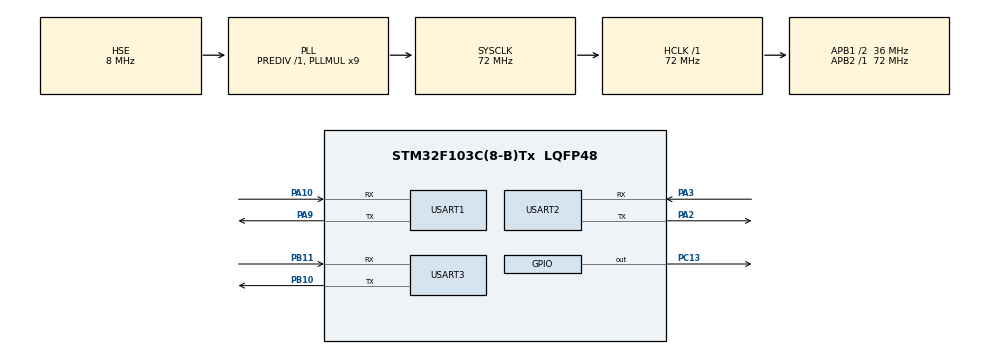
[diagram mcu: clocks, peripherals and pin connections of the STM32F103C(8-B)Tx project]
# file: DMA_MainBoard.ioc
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Dma.Request0=USART1_RX
Dma.Request1=USART1_TX
Dma.Request2=USART2_RX
Dma.Request3=USART2_TX
Dma.Request4=USART3_RX
Dma.Request5=USART3_TX
Dma.USART1_RX.0.Direction=DMA_PERIPH_TO_MEMORY
Dma.USART1_RX.0.Instance=DMA1_Channel5
Dma.USART1_RX.0.MemDataAlignment=DMA_MDATAALIGN_BYTE
Dma.USART1_RX.0.MemInc=DMA_MINC_ENABLE
Dma.USART1_RX.0.Mode=DMA_NORMAL
Dma.USART1_RX.0.PeriphDataAlignment=DMA_PDATAALIGN_BYTE
Dma.USART1_RX.0.PeriphInc=DMA_PINC_DISABLE
Dma.USART1_RX.0.Priority=DMA_PRIORITY_LOW
Dma.USART1_TX.1.Direction=DMA_MEMORY_TO_PERIPH
Dma.USART1_TX.1.Instance=DMA1_Channel4
Dma.USART1_TX.1.MemDataAlignment=DMA_MDATAALIGN_BYTE
Dma.USART1_TX.1.MemInc=DMA_MINC_ENABLE
Dma.USART1_TX.1.Mode=DMA_NORMAL
Dma.USART1_TX.1.PeriphDataAlignment=DMA_PDATAALIGN_BYTE
Dma.USART1_TX.1.PeriphInc=DMA_PINC_DISABLE
Dma.USART1_TX.1.Priority=DMA_PRIORITY_LOW
Dma.USART2_RX.2.Direction=DMA_PERIPH_TO_MEMORY
Dma.USART2_RX.2.Instance=DMA1_Channel6
Dma.USART2_RX.2.MemDataAlignment=DMA_MDATAALIGN_BYTE
Dma.USART2_RX.2.MemInc=DMA_MINC_ENABLE
Dma.USART2_RX.2.Mode=DMA_NORMAL
Dma.USART2_RX.2.PeriphDataAlignment=DMA_PDATAALIGN_BYTE
Dma.USART2_RX.2.PeriphInc=DMA_PINC_DISABLE
Dma.USART2_RX.2.Priority=DMA_PRIORITY_LOW
Dma.USART2_TX.3.Direction=DMA_MEMORY_TO_PERIPH
Dma.USART2_TX.3.Instance=DMA1_Channel7
Dma.USART2_TX.3.MemDataAlignment=DMA_MDATAALIGN_BYTE
Dma.USART2_TX.3.MemInc=DMA_MINC_ENABLE
Dma.USART2_TX.3.Mode=DMA_NORMAL
Dma.USART2_TX.3.PeriphDataAlignment=DMA_PDATAALIGN_BYTE
Dma.USART2_TX.3.PeriphInc=DMA_PINC_DISABLE
Dma.USART2_TX.3.Priority=DMA_PRIORITY_LOW
Dma.USART3_RX.4.Direction=DMA_PERIPH_TO_MEMORY
Dma.USART3_RX.4.Instance=DMA1_Channel3
Dma.USART3_RX.4.MemDataAlignment=DMA_MDATAALIGN_BYTE
Dma.USART3_RX.4.MemInc=DMA_MINC_ENABLE
Dma.USART3_RX.4.Mode=DMA_NORMAL
Dma.USART3_RX.4.PeriphDataAlignment=DMA_PDATAALIGN_BYTE
Dma.USART3_RX.4.PeriphInc=DMA_PINC_DISABLE
Dma.USART3_RX.4.Priority=DMA_PRIORITY_LOW
Dma.USART3_TX.5.Direction=DMA_MEMORY_TO_PERIPH
Dma.USART3_TX.5.Instance=DMA1_Channel2
Dma.USART3_TX.5.MemDataAlignment=DMA_MDATAALIGN_BYTE
Dma.USART3_TX.5.MemInc=DMA_MINC_ENABLE
Dma.USART3_TX.5.Mode=DMA_NORMAL
Dma.USART3_TX.5.PeriphDataAlignment=DMA_PDATAALIGN_BYTE
Dma.USART3_TX.5.PeriphInc=DMA_PINC_DISABLE
Dma.USART3_TX.5.Priority=DMA_PRIORITY_LOW
Mcu.Family=STM32F1
Mcu.Name=STM32F103C(8-B)Tx
Mcu.Package=LQFP48
NVIC.DMA1_Channel2_IRQn=true\:0\:0\:false\:false\:true\:false\:true\:true
NVIC.DMA1_Channel3_IRQn=true\:0\:0\:false\:false\:true\:false\:true\:true
NVIC.DMA1_Channel4_IRQn=true\:0\:0\:false\:false\:true\:false\:true\:true
NVIC.DMA1_Channel5_IRQn=true\:0\:0\:false\:false\:true\:false\:true\:true
NVIC.DMA1_Channel6_IRQn=true\:0\:0\:false\:false\:true\:false\:true\:true
NVIC.DMA1_Channel7_IRQn=true\:0\:0\:false\:false\:true\:false\:true\:true
NVIC.PriorityGroup=NVIC_PRIORITYGROUP_4
NVIC.USART1_IRQn=true\:0\:0\:false\:false\:true\:true\:true\:true
NVIC.USART2_IRQn=true\:0\:0\:false\:false\:true\:true\:true\:true
NVIC.USART3_IRQn=true\:0\:0\:false\:false\:true\:true\:true\:true
PA10.Mode=Asynchronous
PA10.Signal=USART1_RX
PA2.Mode=Asynchronous
PA2.Signal=USART2_TX
PA3.Mode=Asynchronous
PA3.Signal=USART2_RX
PA9.Mode=Asynchronous
PA9.Signal=USART1_TX
PB10.Mode=Asynchronous
PB10.Signal=USART3_TX
PB11.Mode=Asynchronous
PB11.Signal=USART3_RX
PC13-TAMPER-RTC.Signal=GPIO_Output
PD0-OSC_IN.Mode=HSE-External-Oscillator
PD0-OSC_IN.Signal=RCC_OSC_IN
PD1-OSC_OUT.Mode=HSE-External-Oscillator
PD1-OSC_OUT.Signal=RCC_OSC_OUT
ProjectManager.HeapSize=0x200
ProjectManager.StackSize=0x400
ProjectManager.TargetToolchain=STM32CubeIDE
RCC.AHBFreq_Value=72000000
RCC.APB1CLKDivider=RCC_HCLK_DIV2
RCC.APB1Freq_Value=36000000
RCC.APB1TimFreq_Value=72000000
RCC.APB2Freq_Value=72000000
RCC.APB2TimFreq_Value=72000000
RCC.HCLKFreq_Value=72000000
RCC.PLLMUL=RCC_PLL_MUL9
RCC.PLLSourceVirtual=RCC_PLLSOURCE_HSE
RCC.SYSCLKFreq_VALUE=72000000
RCC.SYSCLKSource=RCC_SYSCLKSOURCE_PLLCLK
RCC.USBFreq_Value=72000000
USART1.VirtualMode=VM_ASYNC
USART2.VirtualMode=VM_ASYNC
USART3.VirtualMode=VM_ASYNC
VP_SYS_VS_ND.Mode=No_Debug
board=custom

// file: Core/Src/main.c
/* USER CODE BEGIN Header */
/**
  ******************************************************************************
  * @file           : main.c
  * @brief          : Main program body
  ******************************************************************************
  * @attention
  *
  * Copyright (c) 2025 STMicroelectronics.
  * All rights reserved.
  *
  * This software is licensed under terms that can be found in the LICENSE file
  * in the root directory of this software component.
  * If no LICENSE file comes with this software, it is provided AS-IS.
  *
  ******************************************************************************
  */
/* USER CODE END Header */
#include "main.h"

/* USER CODE BEGIN Includes */
#include <string.h>

//for debugging
#include <stdarg.h>
#include <stdio.h>

/* USER CODE END Includes */

/* USER CODE BEGIN PTD */
typedef struct {
	uint16_t type;
	uint16_t ID;
	uint8_t data[64];
} Message_t;

/* USER CODE END PTD */

/* USER CODE BEGIN PD */
#define MSG_TYPE_PUBLISH 0x1000
#define MSG_TYPE_SUBSCRIBE 0x1100
#define MSG_TOTAL_SIZE sizeof(Message_t)
#define MAX_TOPICS 16

/* USER CODE END PD */

UART_HandleTypeDef huart1;
UART_HandleTypeDef huart2;
UART_HandleTypeDef huart3;
DMA_HandleTypeDef hdma_usart1_rx;
DMA_HandleTypeDef hdma_usart1_tx;
DMA_HandleTypeDef hdma_usart2_rx;
DMA_HandleTypeDef hdma_usart2_tx;
DMA_HandleTypeDef hdma_usart3_rx;
DMA_HandleTypeDef hdma_usart3_tx;

/* USER CODE BEGIN PV */
static uint8_t UART1_rxBuffer[MSG_TOTAL_SIZE] = {0};
static uint8_t UART2_rxBuffer[MSG_TOTAL_SIZE] = {0};
static uint8_t UART3_rxBuffer[MSG_TOTAL_SIZE] = {0};

static uint8_t UART1_txBuffer[MSG_TOTAL_SIZE] = {0};
static uint8_t UART2_txBuffer[MSG_TOTAL_SIZE] = {0};
static uint8_t UART3_txBuffer[MSG_TOTAL_SIZE] = {0};

Message_t UART1_record[MAX_TOPICS] = {0};
Message_t UART2_record[MAX_TOPICS] = {0};
Message_t UART3_record[MAX_TOPICS] = {0};
/* USER CODE END PV */

void SystemClock_Config(void);
static void MX_GPIO_Init(void);
static void MX_DMA_Init(void);
static void MX_USART1_UART_Init(void);
static void MX_USART2_UART_Init(void);
static void MX_USART3_UART_Init(void);

/* USER CODE BEGIN 0 */

//void storeMessage(Message_t* record, Message_t* msg) {
//	for (int i=0;i<MAX_TOPICS;i++) {
//		if (record[i].ID == 0) {
//			memcpy(&record[i], msg, MSG_TOTAL_SIZE);
//
//			//debugging
//			uint8_t debug[64] = {'\0'};
//			int n = sprintf(debug, "stored data in record index %u: ", i);
//			HAL_UART_Transmit(&huart1, debug, n, HAL_MAX_DELAY);
//
//			// Print data in hex format
//			for (int i = 0; i < 64; i++) {  // size of msg->data
//				n = sprintf(debug, "%02X ", &record[i]);
//				HAL_UART_Transmit(&huart1, debug, n, HAL_MAX_DELAY);
//			}
//
//			n = sprintf(debug, "\n");
//			HAL_UART_Transmit(&huart1, debug, n, HAL_MAX_DELAY);
//
//			//------------//
//
//			break;
//		}
//	}
//}

void storeMessage(Message_t* record, Message_t* msg) {
	for (int i=0;i<MAX_TOPICS;i++) {
		if (record[i].ID == msg->ID) {
			memcpy(&record[i], msg, MSG_TOTAL_SIZE);

			//debugging
			uint8_t debug[64] = {'\0'};
			int n = sprintf(debug, "stored data in record index %u: ", i);
			HAL_UART_Transmit(&huart1, debug, n, HAL_MAX_DELAY);

			// Print data in hex format
			for (int j = 0; j < 64; j++) {  // size of msg->data
				n = sprintf(debug, "%02X ", record[i].data[j]);
				HAL_UART_Transmit(&huart1, debug, n, HAL_MAX_DELAY);
			}

			n = sprintf(debug, "\n");
			HAL_UART_Transmit(&huart1, debug, n, HAL_MAX_DELAY);

			//------------//

			break;
		}
		else if (record[i].ID == 0) {
			memcpy(&record[i], msg, MSG_TOTAL_SIZE);

			//debugging
			uint8_t debug[64] = {'\0'};
			int n = sprintf(debug, "stored data in record index %u: ", i);
			HAL_UART_Transmit(&huart1, debug, n, HAL_MAX_DELAY);

			// Print data in hex format
			for (int j = 0; j < 64; j++) {  // size of msg->data
				n = sprintf(debug, "%02X ", record[i].data[j]);
				HAL_UART_Transmit(&huart1, debug, n, HAL_MAX_DELAY);
			}

			n = sprintf(debug, "\n");
			HAL_UART_Transmit(&huart1, debug, n, HAL_MAX_DELAY);

			//------------//

			break;
		}
	}
}

Message_t* findMessage(Message_t* record, uint16_t ID) {
	for (int i=0;i<MAX_TOPICS;i++) {
		if (record[i].ID == ID) {

			//debugging
			uint8_t debug[64] = {'\0'};
			int n = sprintf(debug, "found data in record index %u: ", i);
			HAL_UART_Transmit(&huart1, debug, n, HAL_MAX_DELAY);

			// Print data in hex format
			for (int j = 0; j < 64; j++) {  // size of msg->data
				n = sprintf(debug, "%02X ", record[i].data[j]);
				HAL_UART_Transmit(&huart1, debug, n, HAL_MAX_DELAY);
			}

			n = sprintf(debug, "\n");
			HAL_UART_Transmit(&huart1, debug, n, HAL_MAX_DELAY);

			//------------//

			return &record[i];
		}
	}
	return NULL;
}

void processMessage(UART_HandleTypeDef* huart,
					uint8_t* rxBuff,
					uint8_t* txBuff,
					Message_t* ownRec,
					Message_t* recA,
					Message_t* recB) {

//	HAL_GPIO_TogglePin(GPIOC, GPIO_PIN_13);

	Message_t* msg = (Message_t*) rxBuff;

	//debugging
	uint8_t debug[64] = {'\0'};
	int n = sprintf(debug, "processMessage called with message type = %u\n", msg->type); //the 3rd argument is fixing endian-ness -interpreting the incoming message as big-endian
	HAL_UART_Transmit(&huart1, debug, n, HAL_MAX_DELAY);

	n = sprintf(debug, "received data: ");
	HAL_UART_Transmit(&huart1, debug, n, HAL_MAX_DELAY);

	// Print data in hex format
	for (int i = 0; i < 64; i++) {  // size of msg->data
		n = sprintf(debug, "%02X ", msg->data[i]);
		HAL_UART_Transmit(&huart1, debug, n, HAL_MAX_DELAY);
	}

	n = sprintf(debug, "\n");
	HAL_UART_Transmit(&huart1, debug, n, HAL_MAX_DELAY);

	//------------//

	if (msg->type == MSG_TYPE_PUBLISH) {

		//debugging
		uint8_t debug[64] = {'\0'};
		int n = sprintf(debug, "Publishing ID=%u\n", msg->ID);
		HAL_UART_Transmit(&huart1, debug, n, HAL_MAX_DELAY);

		storeMessage(ownRec, msg);
	}
	else if (msg->type == MSG_TYPE_SUBSCRIBE) {

		//debugging
		uint8_t debug[64] = {'\0'};
		int n = sprintf(debug, "Subscribe request ID=%u\n", msg->ID);
		HAL_UART_Transmit(&huart1, debug, n, HAL_MAX_DELAY);

		Message_t* found = findMessage(recA, msg->ID);
		if (!found) found = findMessage(recB, msg->ID);

		if (found) {

			//debugging
			uint8_t debug[64] = {'\0'};
			int n = sprintf(debug, "Response ID=%u %s\n", msg->ID, found ? "message found" : "message not found");
			HAL_UART_Transmit(&huart1, debug, n, HAL_MAX_DELAY);

			memcpy(txBuff, found, MSG_TOTAL_SIZE);

			HAL_UART_Transmit_DMA(huart, txBuff, MSG_TOTAL_SIZE);

			//more debugging
			n = sprintf(debug, "transmitted data: ");
			HAL_UART_Transmit(&huart1, debug, n, HAL_MAX_DELAY);

			// Print data in hex format
			for (int i = 0; i < 64; i++) {  // size of msg->data
				n = sprintf(debug, "%02X ", txBuff[i]);
				HAL_UART_Transmit(&huart1, debug, n, HAL_MAX_DELAY);
			}

			n = sprintf(debug, "\n");
			HAL_UART_Transmit(&huart1, debug, n, HAL_MAX_DELAY);

			//------------//
		}
	}
}

void HAL_UARTEx_RxEventCallback(UART_HandleTypeDef *huart, uint16_t Size) {
    if (huart->Instance == USART1) {
        processMessage(&huart1, UART1_rxBuffer, UART1_txBuffer, UART1_record, UART2_record, UART3_record);
        HAL_UARTEx_ReceiveToIdle_DMA(&huart1, UART1_rxBuffer, MSG_TOTAL_SIZE);
        __HAL_DMA_DISABLE_IT(huart1.hdmarx, DMA_IT_HT);  //disabling half-transfer interrupts (MUST be called right after initializing DMA)
    }
    else if (huart->Instance == USART2) {
		//debugging
		uint8_t debug[64] = {0};
		int n = sprintf(debug, "USART2 rx complete callback. log data: Size=%u, huart->RxState=%u \n", Size, huart->RxState);
		HAL_UART_Transmit(&huart1, debug, n, HAL_MAX_DELAY);

        processMessage(&huart2, UART2_rxBuffer, UART2_txBuffer, UART2_record, UART1_record, UART3_record);
        HAL_UARTEx_ReceiveToIdle_DMA(&huart2, UART2_rxBuffer, MSG_TOTAL_SIZE);
        __HAL_DMA_DISABLE_IT(huart2.hdmarx, DMA_IT_HT);  //disabling half-transfer interrupts (MUST be called right after initializing DMA)

    }
    else if (huart->Instance == USART3) {
		//debugging
		uint8_t debug[64] = {0};
		int n = sprintf(debug, "USART2 rx complete callback. log data: Size=%u, huart->RxState=%u \n", Size, huart->RxState);
		HAL_UART_Transmit(&huart1, debug, n, HAL_MAX_DELAY);

        processMessage(&huart3, UART3_rxBuffer, UART3_txBuffer, UART3_record, UART1_record, UART2_record);
        HAL_UARTEx_ReceiveToIdle_DMA(&huart3, UART3_rxBuffer, MSG_TOTAL_SIZE);
        __HAL_DMA_DISABLE_IT(huart3.hdmarx, DMA_IT_HT);  //disabling half-transfer interrupts (MUST be called right after initializing DMA)
    }

    uint8_t debug[64] = {0};
    int n = sprintf(debug, "\n");
	HAL_UART_Transmit(&huart1, debug, n, HAL_MAX_DELAY);
}

/* USER CODE END 0 */

int main(void)
{

  /* MCU Configuration--------------------------------------------------------*/

  /* Reset of all peripherals, Initializes the Flash interface and the Systick. */
  HAL_Init();

  /* Configure the system clock */
  SystemClock_Config();

  /* Initialize all configured peripherals */
  MX_GPIO_Init();
  MX_DMA_Init();
  MX_USART1_UART_Init();
  MX_USART2_UART_Init();
  MX_USART3_UART_Init();
  /* USER CODE BEGIN 2 */
  HAL_UARTEx_ReceiveToIdle_DMA(&huart1, UART1_rxBuffer, MSG_TOTAL_SIZE);
  __HAL_DMA_DISABLE_IT(huart1.hdmarx, DMA_IT_HT);  //disabling half-transfer interrupts (MUST be called right after initializing DMA)
  HAL_UARTEx_ReceiveToIdle_DMA(&huart2, UART2_rxBuffer, MSG_TOTAL_SIZE);
  __HAL_DMA_DISABLE_IT(huart2.hdmarx, DMA_IT_HT);  //disabling half-transfer interrupts (MUST be called right after initializing DMA)
  HAL_UARTEx_ReceiveToIdle_DMA(&huart3, UART3_rxBuffer, MSG_TOTAL_SIZE);
  __HAL_DMA_DISABLE_IT(huart3.hdmarx, DMA_IT_HT);  //disabling half-transfer interrupts (MUST be called right after initializing DMA)

	//debugging
	uint8_t debug[64] = {'\0'};
	int n = sprintf(debug, "STM32 start debug\n");
	HAL_UART_Transmit(&huart1, debug, n, HAL_MAX_DELAY);
  /* USER CODE END 2 */

  /* Infinite loop */
  while (1)
  {

  }
}

void SystemClock_Config(void)
{
  RCC_OscInitTypeDef RCC_OscInitStruct = {0};
  RCC_ClkInitTypeDef RCC_ClkInitStruct = {0};

  /** Initializes the RCC Oscillators according to the specified parameters
  * in the RCC_OscInitTypeDef structure.
  */
  RCC_OscInitStruct.OscillatorType = RCC_OSCILLATORTYPE_HSE;
  RCC_OscInitStruct.HSEState = RCC_HSE_ON;
  RCC_OscInitStruct.HSEPredivValue = RCC_HSE_PREDIV_DIV1;
  RCC_OscInitStruct.HSIState = RCC_HSI_ON;
  RCC_OscInitStruct.PLL.PLLState = RCC_PLL_ON;
  RCC_OscInitStruct.PLL.PLLSource = RCC_PLLSOURCE_HSE;
  RCC_OscInitStruct.PLL.PLLMUL = RCC_PLL_MUL9;
  if (HAL_RCC_OscConfig(&RCC_OscInitStruct) != HAL_OK)
  {
    Error_Handler();
  }

  /** Initializes the CPU, AHB and APB buses clocks
  */
  RCC_ClkInitStruct.ClockType = RCC_CLOCKTYPE_HCLK|RCC_CLOCKTYPE_SYSCLK
                              |RCC_CLOCKTYPE_PCLK1|RCC_CLOCKTYPE_PCLK2;
  RCC_ClkInitStruct.SYSCLKSource = RCC_SYSCLKSOURCE_PLLCLK;
  RCC_ClkInitStruct.AHBCLKDivider = RCC_SYSCLK_DIV1;
  RCC_ClkInitStruct.APB1CLKDivider = RCC_HCLK_DIV2;
  RCC_ClkInitStruct.APB2CLKDivider = RCC_HCLK_DIV1;

  if (HAL_RCC_ClockConfig(&RCC_ClkInitStruct, FLASH_LATENCY_2) != HAL_OK)
  {
    Error_Handler();
  }
}

static void MX_USART1_UART_Init(void)
{

  huart1.Instance = USART1;
  huart1.Init.BaudRate = 115200;
  huart1.Init.WordLength = UART_WORDLENGTH_8B;
  huart1.Init.StopBits = UART_STOPBITS_1;
  huart1.Init.Parity = UART_PARITY_NONE;
  huart1.Init.Mode = UART_MODE_TX_RX;
  huart1.Init.HwFlowCtl = UART_HWCONTROL_NONE;
  huart1.Init.OverSampling = UART_OVERSAMPLING_16;
  if (HAL_UART_Init(&huart1) != HAL_OK)
  {
    Error_Handler();
  }

}

static void MX_USART2_UART_Init(void)
{

  huart2.Instance = USART2;
  huart2.Init.BaudRate = 115200;
  huart2.Init.WordLength = UART_WORDLENGTH_8B;
  huart2.Init.StopBits = UART_STOPBITS_1;
  huart2.Init.Parity = UART_PARITY_NONE;
  huart2.Init.Mode = UART_MODE_TX_RX;
  huart2.Init.HwFlowCtl = UART_HWCONTROL_NONE;
  huart2.Init.OverSampling = UART_OVERSAMPLING_16;
  if (HAL_UART_Init(&huart2) != HAL_OK)
  {
    Error_Handler();
  }

}

static void MX_USART3_UART_Init(void)
{

  huart3.Instance = USART3;
  huart3.Init.BaudRate = 115200;
  huart3.Init.WordLength = UART_WORDLENGTH_8B;
  huart3.Init.StopBits = UART_STOPBITS_1;
  huart3.Init.Parity = UART_PARITY_NONE;
  huart3.Init.Mode = UART_MODE_TX_RX;
  huart3.Init.HwFlowCtl = UART_HWCONTROL_NONE;
  huart3.Init.OverSampling = UART_OVERSAMPLING_16;
  if (HAL_UART_Init(&huart3) != HAL_OK)
  {
    Error_Handler();
  }

}

static void MX_DMA_Init(void)
{

  /* DMA controller clock enable */
  __HAL_RCC_DMA1_CLK_ENABLE();

  /* DMA interrupt init */
  /* DMA1_Channel2_IRQn interrupt configuration */
  HAL_NVIC_SetPriority(DMA1_Channel2_IRQn, 0, 0);
  HAL_NVIC_EnableIRQ(DMA1_Channel2_IRQn);
  /* DMA1_Channel3_IRQn interrupt configuration */
  HAL_NVIC_SetPriority(DMA1_Channel3_IRQn, 0, 0);
  HAL_NVIC_EnableIRQ(DMA1_Channel3_IRQn);
  /* DMA1_Channel4_IRQn interrupt configuration */
  HAL_NVIC_SetPriority(DMA1_Channel4_IRQn, 0, 0);
  HAL_NVIC_EnableIRQ(DMA1_Channel4_IRQn);
  /* DMA1_Channel5_IRQn interrupt configuration */
  HAL_NVIC_SetPriority(DMA1_Channel5_IRQn, 0, 0);
  HAL_NVIC_EnableIRQ(DMA1_Channel5_IRQn);
  /* DMA1_Channel6_IRQn interrupt configuration */
  HAL_NVIC_SetPriority(DMA1_Channel6_IRQn, 0, 0);
  HAL_NVIC_EnableIRQ(DMA1_Channel6_IRQn);
  /* DMA1_Channel7_IRQn interrupt configuration */
  HAL_NVIC_SetPriority(DMA1_Channel7_IRQn, 0, 0);
  HAL_NVIC_EnableIRQ(DMA1_Channel7_IRQn);

}

static void MX_GPIO_Init(void)
{
  GPIO_InitTypeDef GPIO_InitStruct = {0};

  /* GPIO Ports Clock Enable */
  __HAL_RCC_GPIOC_CLK_ENABLE();
  __HAL_RCC_GPIOD_CLK_ENABLE();
  __HAL_RCC_GPIOA_CLK_ENABLE();
  __HAL_RCC_GPIOB_CLK_ENABLE();

  /*Configure GPIO pin Output Level */
  HAL_GPIO_WritePin(GPIOC, GPIO_PIN_13, GPIO_PIN_RESET);

  /*Configure GPIO pin : PC13 */
  GPIO_InitStruct.Pin = GPIO_PIN_13;
  GPIO_InitStruct.Mode = GPIO_MODE_OUTPUT_PP;
  GPIO_InitStruct.Pull = GPIO_NOPULL;
  GPIO_InitStruct.Speed = GPIO_SPEED_FREQ_LOW;
  HAL_GPIO_Init(GPIOC, &GPIO_InitStruct);

}

void Error_Handler(void)
{
  __disable_irq();
  while (1)
  {
  }
}
